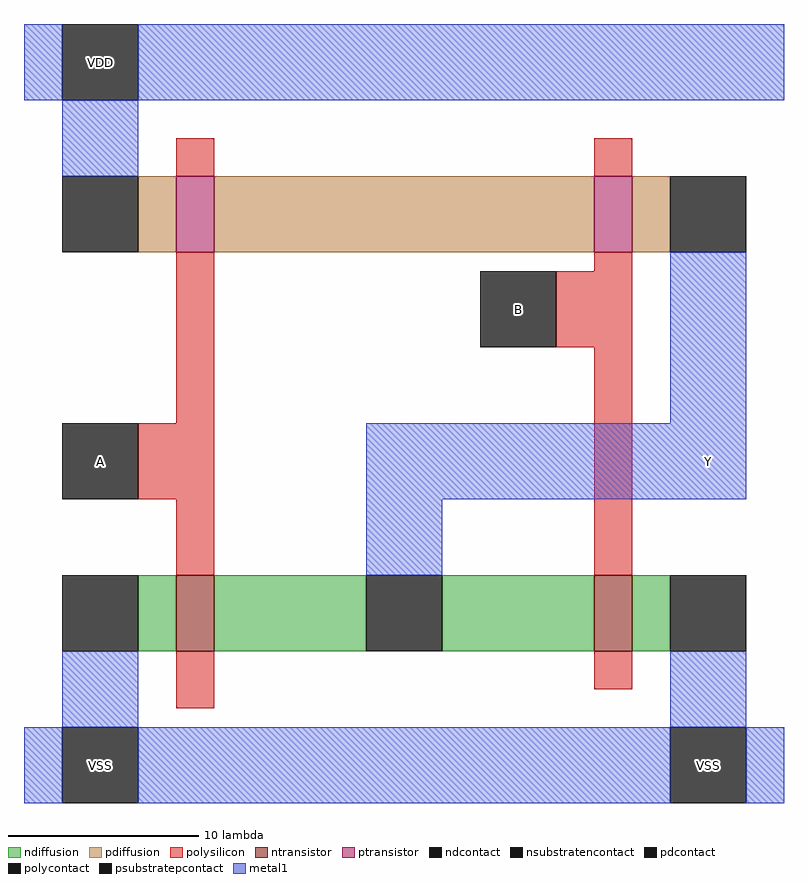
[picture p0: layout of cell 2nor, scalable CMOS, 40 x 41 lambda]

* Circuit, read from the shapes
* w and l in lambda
.subckt 2nor A B VDD VSS Y
M1 Y A VSS VSS nfet w=4 l=2
M2 VSS B Y VSS nfet w=4 l=2
M3 n1 A VDD VDD pfet w=4 l=2
M4 Y B n1 VDD pfet w=4 l=2
.ends

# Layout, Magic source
magic
tech scmos
<< ntransistor >>
rect 4 -1 6 3
rect 26 -1 28 3
<< ptransistor >>
rect 4 20 6 24
rect 26 20 28 24
<< ndiffusion >>
rect 2 -1 4 3
rect 6 -1 14 3
rect 18 -1 26 3
rect 28 -1 30 3
<< pdiffusion >>
rect 2 20 4 24
rect 6 20 26 24
rect 28 20 30 24
<< ndcontact >>
rect -2 -1 2 3
rect 14 -1 18 3
rect 30 -1 34 3
<< pdcontact >>
rect -2 20 2 24
rect 30 20 34 24
<< psubstratepcontact >>
rect -2 -9 2 -5
rect 30 -9 34 -5
<< nsubstratencontact >>
rect -2 28 2 32
<< polysilicon >>
rect 4 24 6 26
rect 26 24 28 26
rect 4 11 6 20
rect 26 19 28 20
rect 24 15 28 19
rect 2 7 6 11
rect 4 3 6 7
rect 26 3 28 15
rect 4 -4 6 -1
rect 26 -3 28 -1
<< polycontact >>
rect 20 15 24 19
rect -2 7 2 11
<< metal1 >>
rect -4 28 -2 32
rect 2 28 36 32
rect -2 24 2 28
rect 30 11 34 20
rect 14 7 34 11
rect 14 3 18 7
rect -2 -5 2 -1
rect 30 -5 34 -1
rect -4 -9 -2 -5
rect 2 -9 30 -5
rect 34 -9 36 -5
<< labels >>
rlabel polycontact 0 9 0 9 1 A
rlabel metal1 32 9 32 9 1 Y
rlabel psubstratepcontact 0 -7 0 -7 1 VSS
rlabel psubstratepcontact 32 -7 32 -7 1 VSS
rlabel polycontact 22 17 22 17 1 B
rlabel nsubstratencontact 0 30 0 30 1 VDD
<< end >>
